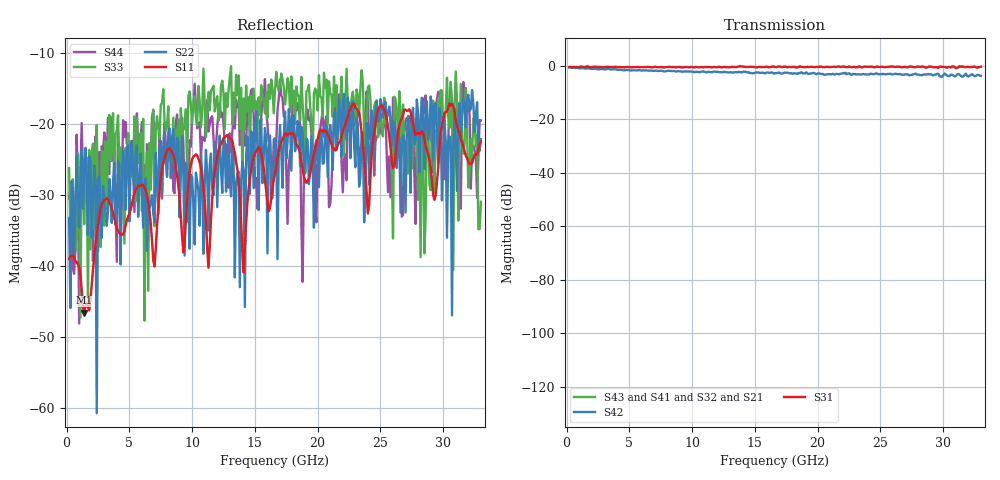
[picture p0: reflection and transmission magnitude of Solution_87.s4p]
# GHZ S RI R 50
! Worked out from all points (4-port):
!   329 points, 200 MHz to 33 GHz, reference 50 ohm
!   strongest paths, dB at 200 MHz, 8.4 GHz, 16.6 GHz, 24.8 GHz, 33 GHz:
!     S31: -0.4, -0.4, -0.4, -0.2, -0.2
!     S42: -0.5, -1.9, -2.7, -2.9, -3.7
!     S43: -, -, -, -, -
!     S41: -, -, -, -, -
!     S32: -, -, -, -, -
!     S21: -, -, -, -, -
!   lowest |S11| = -46.6 dB at 1.4 GHz (marker M1), VSWR 1.01, Z = 50.5 + j0.0479 ohm
!   |S11| at or under -10 dB: start of sweep to end of sweep
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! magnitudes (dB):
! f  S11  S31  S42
! 200 MHz  -39.0  -0.4  -0.5
! 1.4 GHz  -46.6  -0.4  -0.9
! 2.3 GHz  -37.0  -0.3  -1.0
! 2.4 GHz  -35.6  -0.3  -1.1
! 2.5 GHz  -34.2  -0.3  -1.2
! 5.2 GHz  -31.3  -0.5  -1.6
! 33 GHz  -22.5  -0.2  -3.7
